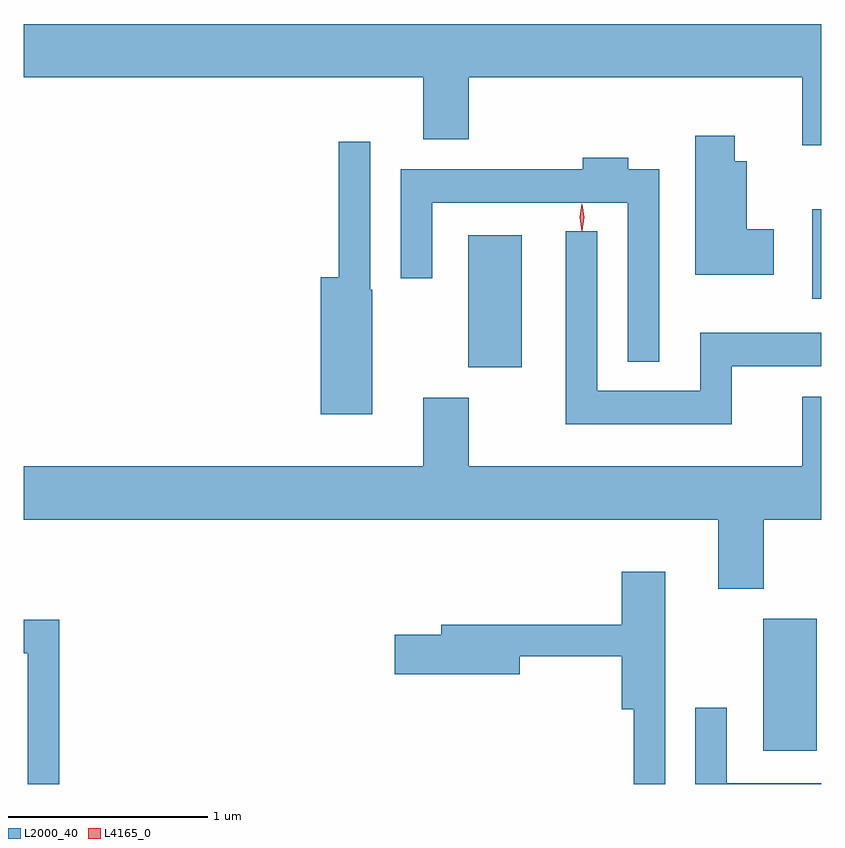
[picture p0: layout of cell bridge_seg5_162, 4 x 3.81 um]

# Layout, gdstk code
import gdstk
lib = gdstk.Library(unit=1e-6, precision=1e-09)
def R(c, l, rs):  # rectangles x0, y0, x1, y1
    for r in rs: c.add(gdstk.rectangle(r[:2], r[2:], *l))
def P(c, l, *ps):  # polygons
    for p in ps: c.add(gdstk.Polygon(p, *l))
L2000_40 = (2000, 40)
L4165_0 = (4165, 0)

bridge_seg5_162 = lib.new_cell('bridge_seg5_162')
R(bridge_seg5_162, L2000_40, [(1192.806,1420.116,1193.074,1420.779), (1191.326,1422.041,1191.594,1422.704), (1193.051,1422.386,1193.096,1422.834)])
P(bridge_seg5_162, L2000_40, [(1193.096,1423.764),(1189.096,1423.764),(1189.096,1423.496),(1191.101,1423.496),(1191.101,1423.186),(1191.329,1423.186),(1191.329,1423.496),(1193.001,1423.496),(1193.001,1423.156),(1193.096,1423.156)],
  [(1192.859,1422.734),(1192.724,1422.734),(1192.724,1423.074),(1192.664,1423.074),(1192.664,1423.204),(1192.466,1423.204),(1192.466,1422.506),(1192.859,1422.506)],
  [(1190.844,1422.43),(1190.834,1422.43),(1190.834,1423.173),(1190.676,1423.173),(1190.676,1422.494),(1190.586,1422.494),(1190.586,1421.806),(1190.844,1421.806)],
  [(1192.284,1423.034),(1192.129,1423.034),(1192.129,1423.094),(1191.901,1423.094),(1191.901,1423.034),(1190.986,1423.034),(1190.986,1422.488),(1191.144,1422.488),(1191.144,1422.866),(1192.126,1422.866),(1192.126,1422.068),(1192.284,1422.068)],
  [(1192.649,1422.046),(1193.096,1422.046),(1193.096,1422.214),(1192.491,1422.214),(1192.491,1421.924),(1191.974,1421.924),(1191.974,1422.723),(1191.816,1422.723),(1191.816,1421.756),(1192.649,1421.756)],
  [(1192.809,1421.276),(1193.096,1421.276),(1193.096,1421.894),(1193.001,1421.894),(1193.001,1421.544),(1191.329,1421.544),(1191.329,1421.889),(1191.101,1421.889),(1191.101,1421.544),(1189.096,1421.544),(1189.096,1421.276),(1192.581,1421.276),(1192.581,1420.931),(1192.809,1420.931)],
  [(1192.314,1421.014),(1192.096,1421.014),(1192.096,1420.749),(1191.191,1420.749),(1191.191,1420.699),(1190.956,1420.699),(1190.956,1420.501),(1191.584,1420.501),(1191.584,1420.591),(1192.096,1420.591),(1192.096,1420.326),(1192.156,1420.326),(1192.156,1419.95),(1192.314,1419.95)],
  [(1189.274,1420.774),(1189.096,1420.774),(1189.096,1420.606),(1189.116,1420.606),(1189.116,1419.95),(1189.274,1419.95)],
  [(1193.096,1419.954),(1192.624,1419.954),(1192.624,1420.333),(1192.466,1420.333),(1192.466,1419.95),(1193.096,1419.95)])
P(bridge_seg5_162, L4165_0, [(1191.897,1422.727),(1191.888,1422.794),(1191.897,1422.86),(1191.898,1422.86),(1191.898,1422.86),(1191.908,1422.794),(1191.898,1422.727),(1191.898,1422.727)],
  [(1191.894,1422.724),(1191.885,1422.793),(1191.894,1422.862),(1191.895,1422.863),(1191.896,1422.862),(1191.905,1422.793),(1191.896,1422.724),(1191.895,1422.724)])

lib.write_gds('bridge_seg5_162.gds')
